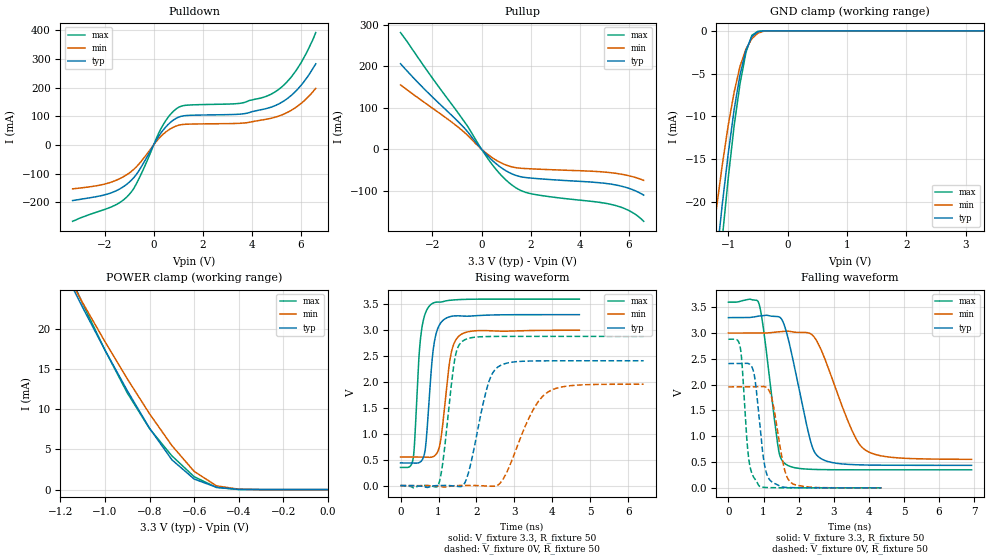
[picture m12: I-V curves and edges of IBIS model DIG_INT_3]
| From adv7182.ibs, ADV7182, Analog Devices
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[Model] DIG_INT_3
Model_type I/O
Vinl = 1.41V
Vinh = 1.64V
C_comp 1.9646pF 1.887766pF 2.013059pF
Vmeas = 1.50V
Cref = 10pF
[Model Spec]
| Subparameter   typ   min   max
| Thresholds
Vinh   1.51V   1.41V   1.64V
Vinl   1.51V   1.41V   1.64V
| Overshoot
S_overshoot_high   3.60V   3.30V   3.90V
S_overshoot_low   -0.30V   NA   NA
| Timing spec related
Vmeas   1.50V   1.45V   1.55V
Cref   10pF   NA   NA
| variable   typ   min   max
[Temperature Range]   55   125   -20
[Voltage Range]   3.30V   3.00V   3.60V
[Pulldown Reference]   0V   0V   0V
[Pullup Reference]   3.30V   3.00V   3.60V
[GND Clamp Reference]   0V   0V   0V
[POWER Clamp Reference]  3.30V   3.00V   3.60V
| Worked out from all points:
|   slope of the pulldown table from 0 to 0.495 V, typ, clamps not added: 7.89 ohm
|   slope of the pullup table from 0 to 0.495 V, typ, clamps not added: 16.5 ohm
|   GND clamp passes 1 mA (typ) near -0.62 V on its own axis
|   POWER clamp passes 1 mA (typ) near -0.57 V on its own axis
|   falling waveform, V_fixture 3.3, R_fixture 50: 20-80 % time 541ps typ, 827ps min, 347ps max; typ from 3.3 V to 0.437 V
|   falling waveform, V_fixture 0V, R_fixture 50: 20-80 % time 230ps typ, 297ps min, 178ps max; typ from 2.41 V to 0 V
|   rising waveform, V_fixture 3.3, R_fixture 50: 20-80 % time 188ps typ, 232ps min, 161ps max; typ from 0.437 V to 3.3 V
|   rising waveform, V_fixture 0V, R_fixture 50: 20-80 % time 425ps typ, 696ps min, 262ps max; typ from 0 V to 2.41 V
[Pulldown]
| Note: Vtable = Vpin
| Voltage   I(typ)   I(min)   I(max)
-3.3V     -194.4mA   -153.6mA   -266.9mA
-1.8V     -169.6mA   -132.1mA   -219.3mA
-1V       -130.8mA   -98.55mA   -173.7mA
-600mV    -90.18mA   -66.89mA   -118.4mA
300mV     42.02mA    30.3mA     57.03mA
900mV     92.09mA    65.45mA    124.8mA
1.3V      102.4mA    72.1mA     138.3mA
3.6V      108.1mA    75.96mA    146.5mA
4.8V      132.4mA    93.46mA    178mA
5.3V      153.4mA    107.5mA    209mA
5.8V      188.8mA    131.8mA    259.9mA
6.6V      283.3mA    197.4mA    392.5mA
[Pullup]
| Note: Vtable = VCC - Vpin
| Voltage   I(typ)   I(min)   I(max)
-3.3V     206.1mA    155mA      281.2mA
-2.3V     143.2mA    111.5mA    196.3mA
-1V       69.17mA    55.38mA    91.11mA
-600mV    44.32mA    35.31mA    57.98mA
300mV     -19.15mA   -14.65mA   -26.33mA
800mV     -44.54mA   -33.07mA   -62.88mA
1.2V      -58.44mA   -42.03mA   -84.75mA
1.6V      -66.39mA   -45.88mA   -99.5mA
2V        -69.5mA    -47.24mA   -107.1mA
5.4V      -85.56mA   -57.62mA   -134.8mA
6.1V      -96.42mA   -65.42mA   -151.1mA
6.6V      -110.6mA   -75.1mA    -173.7mA
[GND Clamp]
| Note: Vtable = Vpin
| Voltage   I(typ)   I(min)   I(max)
-3.3V     -214.5mA   -182.2mA   -244.6mA
-1.3V     -33.85mA   -26.51mA   -40.24mA
-1.2V     -26.88mA   -20.95mA   -32.09mA
-1.1V     -20.36mA   -15.75mA   -24.36mA
-1V       -14.44mA   -11.1mA    -17.31mA
-900mV    -9.238mA   -7.189mA   -11.13mA
-800mV    -5.109mA   -4.127mA   -6.172mA
-700mV    -2.244mA   -2.119mA   -2.495mA
-600mV    -647.9uA   -896.5uA   -510.7uA
-500mV    -104.2uA   -270.3uA   -53.48uA
-300mV    -1.061uA   -3.763uA   -150.5nA
3.3V      412.1pA    5.271uA    62.55pA
[Power Clamp]
| Note: Vtable = VCC - Vpin
| Voltage   I(typ)   I(min)   I(max)
-3.3V     180.1mA    166.5mA    204.1mA
-1.2V     28.12mA    28.24mA    29.18mA
-1.1V     22.63mA    23.22mA    23.11mA
-1V       17.33mA    18.39mA    17.33mA
-900mV    12.29mA    13.77mA    12.02mA
-800mV    7.624mA    9.419mA    7.572mA
-700mV    3.706mA    5.475mA    4.196mA
-600mV    1.314mA    2.262mA    1.603mA
-500mV    288.9uA    467.9uA    268.6uA
-400mV    28.12uA    52.24uA    13.1uA
0V        412.1pA    2.664nA    80.85pA
[Ramp]
| Variable   typ   min   max
dV/dt_r   1.45V/425.3652ps   1.17V/696.3342ps   1.73V/262.2328ps
dV/dt_f   1.72V/540.8883ps   1.47V/855.7798ps   1.94V/349.1086ps
R_load =  50
[Falling Waveform]
V_fixture =  3.3
R_fixture =  50
V_fixture_max =  3.6
V_fixture_min =  3
| R_dut = 0.23Ohm
| L_dut = 6.2nH
| C_dut = 1.05pF
| Time   V(typ)   V(min)   V(max)
0s        3.3V       3V         3.6V
864.8ps   3.329V     3V         3.581V
1.01ns    3.342V     3V         3.021V
1.421ns   3.318V     3.024V     762.6mV
1.638ns   3.053V     3.036V     455.5mV
2.34ns    902.3mV    2.988V     359.6mV
2.607ns   579.3mV    2.727V     354.3mV
3.462ns   453.1mV    1.202V     350.1mV
3.891ns   443.3mV    737.6mV    349.7mV
6.927ns   436.7mV    553mV      349.5mV
[Falling Waveform]
V_fixture = 0V
R_fixture =  50
| R_dut = 0.23Ohm
| L_dut = 6.2nH
| C_dut = 1.05pF
| Time   V(typ)   V(min)   V(max)
0s        2.41V      1.957V     2.881V
330ps     2.41V      1.957V     2.744V
582.3ps   2.406V     1.957V     544.2mV
741.2ps   2.169V     1.959V     182.5mV
881.3ps   1.303V     1.965V     32.81mV
1.12ns    219.6mV    1.923V     5.296mV
1.252ns   107.9mV    1.689V     3.277mV
1.593ns   10.85mV    369.2mV    1.146mV
1.787ns   4.708mV    99.29mV    647.6uV
4.36ns    19.93uV    260.3uV    2.146uV
[Rising Waveform]
V_fixture =  3.3
R_fixture =  50
V_fixture_max =  3.6
V_fixture_min =  3
| R_dut = 0.23Ohm
| L_dut = 6.2nH
| C_dut = 1.05pF
| Time   V(typ)   V(min)   V(max)
0s        436.6mV    552mV      349.5mV
332.3ps   434.4mV    552.1mV    519.7mV
529.7ps   460.4mV    551.5mV    2.863V
657.6ps   737.7mV    547.5mV    3.335V
783.7ps   1.982V     545mV      3.487V
878.3ps   2.718V     565.8mV    3.53V
996.9ps   3.062V     684.9mV    3.543V
1.329ns   3.267V     2.542V     3.58V
1.558ns   3.277V     2.9V       3.592V
4.708ns   3.3V       3V         3.6V
[Rising Waveform]
| R_dut = 0.23Ohm
| L_dut = 6.2nH
| C_dut = 1.05pF
V_fixture = 0V
R_fixture =  50
| R_dut = 0.23Ohm
| L_dut = 6.2nH
| C_dut = 1.05pF
| Time   V(typ)   V(min)   V(max)
0s        57.58uV    1.179uV    332.5uV
997.7ps   64.06uV    -12.46mV   14.01mV
1.126ns   1.839mV    -27.79mV   514.2mV
1.429ns   -9.897mV   -2.331mV   2.446V
1.675ns   30.13mV    1.108mV    2.809V
2.289ns   1.917V     -10.28mV   2.878V
2.589ns   2.302V     24.31mV    2.88V
3.422ns   2.405V     1.368V     2.881V
3.84ns    2.409V     1.785V     2.881V
6.401ns   2.41V      1.957V     2.881V
